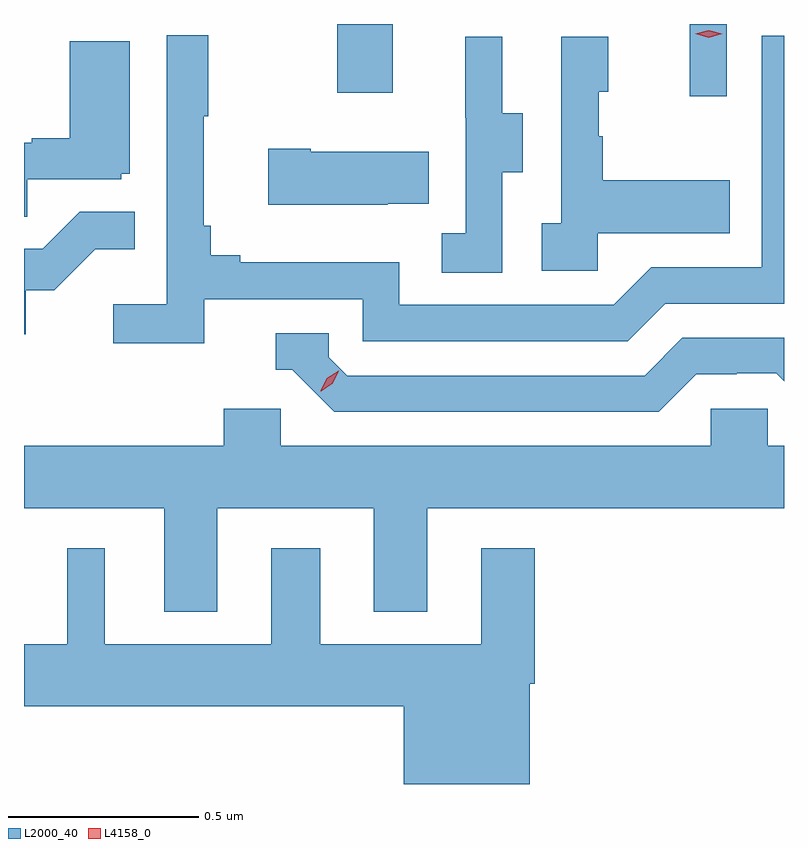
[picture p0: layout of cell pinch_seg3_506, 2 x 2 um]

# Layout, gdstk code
import gdstk
lib = gdstk.Library(unit=1e-6, precision=1e-09)
def R(c, l, rs):  # rectangles x0, y0, x1, y1
    for r in rs: c.add(gdstk.rectangle(r[:2], r[2:], *l))
def P(c, l, *ps):  # polygons
    for p in ps: c.add(gdstk.Polygon(p, *l))
L2000_40 = (2000, 40)
L4158_0 = (4158, 0)

pinch_seg3_506 = lib.new_cell('pinch_seg3_506')
R(pinch_seg3_506, L2000_40, [(1000.364,675.36,1000.461,675.55), (999.436,675.369,999.583,675.55)])
P(pinch_seg3_506, L2000_40, [(999.086,674.826),(999.504,674.826),(999.504,674.715),(1000.201,674.715),(1000.3,674.814),(1000.612,674.814),(1000.612,675.519),(1000.554,675.519),(1000.554,674.91),(1000.263,674.91),(1000.164,674.811),(999.6,674.811),(999.6,674.923),(999.181,674.923),(999.181,674.942),(999.104,674.942),(999.104,675.019),(999.085,675.019),(999.085,675.307),(999.097,675.307),(999.097,675.52),(998.988,675.52),(998.988,674.812),(998.847,674.812),(998.847,674.71),(999.086,674.71)],
  [(1000.122,674.999),(1000.469,674.999),(1000.469,675.139),(1000.135,675.139),(1000.135,675.254),(1000.125,675.254),(1000.125,675.372),(1000.15,675.372),(1000.15,675.517),(1000.026,675.517),(1000.026,675.026),(999.975,675.026),(999.975,674.901),(1000.122,674.901)],
  [(999.87,675.16),(999.925,675.16),(999.925,675.315),(999.871,675.315),(999.871,675.517),(999.773,675.517),(999.773,675.303),(999.774,675.303),(999.774,674.999),(999.711,674.999),(999.711,674.896),(999.87,674.896)],
  [(998.621,675.141),(998.868,675.141),(998.868,675.156),(998.89,675.156),(998.89,675.505),(998.732,675.505),(998.732,675.25),(998.633,675.25),(998.633,675.237),(998.612,675.237),(998.612,675.043),(998.621,675.043)],
  [(999.569,675.077),(999.677,675.077),(999.677,675.214),(999.367,675.214),(999.367,675.222),(999.255,675.222),(999.255,675.074),(999.569,675.074)],
  [(998.616,674.85),(998.692,674.85),(998.799,674.957),(998.903,674.957),(998.903,675.056),(998.759,675.056),(998.661,674.958),(998.612,674.958),(998.612,674.733),(998.616,674.733)],
  [(1000.381,674.628),(1000.488,674.628),(1000.488,674.631),(1000.591,674.631),(1000.612,674.61),(1000.612,674.724),(1000.344,674.724),(1000.245,674.625),(999.462,674.625),(999.414,674.673),(999.414,674.736),(999.275,674.736),(999.275,674.64),(999.318,674.64),(999.429,674.529),(1000.282,674.529)],
  [(998.612,674.276),(998.981,674.276),(998.981,674.003),(999.121,674.003),(999.121,674.276),(999.533,674.276),(999.533,674.003),(999.673,674.003),(999.673,674.276),(1000.612,674.276),(1000.612,674.44),(1000.569,674.44),(1000.569,674.538),(1000.419,674.538),(1000.419,674.44),(999.288,674.44),(999.288,674.538),(999.137,674.538),(999.137,674.44),(998.612,674.44)],
  [(999.943,673.814),(999.956,673.814),(999.956,674.17),(999.815,674.17),(999.815,673.918),(999.391,673.918),(999.391,674.17),(999.263,674.17),(999.263,673.918),(998.824,673.918),(998.824,674.17),(998.726,674.17),(998.726,673.918),(998.612,673.918),(998.612,673.754),(999.611,673.754),(999.611,673.55),(999.943,673.55)])
P(pinch_seg3_506, L4158_0, [(1000.414,675.514),(1000.378,675.524),(1000.378,675.524),(1000.378,675.524),(1000.414,675.534),(1000.449,675.524),(1000.449,675.524),(1000.449,675.524)],
  [(999.393,674.584),(999.393,674.585),(999.409,674.618),(999.44,674.638),(999.44,674.638),(999.44,674.637),(999.424,674.604),(999.394,674.584)])

lib.write_gds('pinch_seg3_506.gds')
